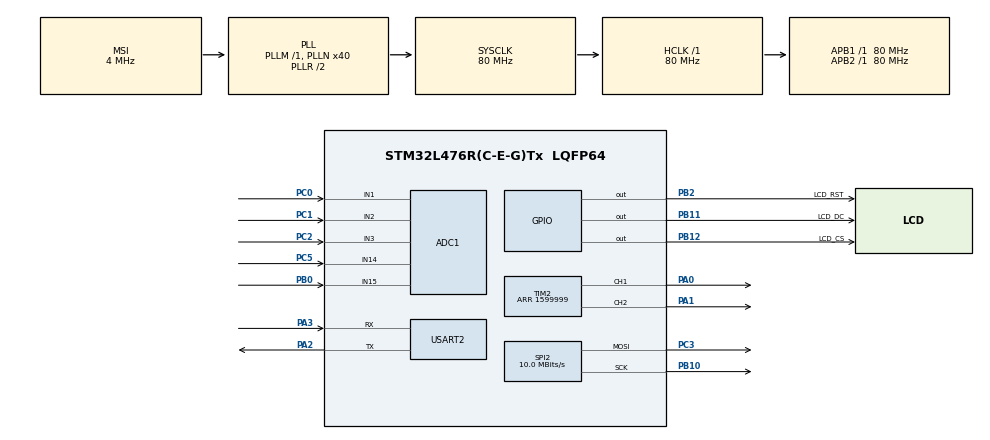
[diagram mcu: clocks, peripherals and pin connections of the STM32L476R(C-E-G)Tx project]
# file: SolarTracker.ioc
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ADC1.Channel-0\#ChannelRegularConversion=ADC_CHANNEL_1
ADC1.Channel-1\#ChannelRegularConversion=ADC_CHANNEL_2
ADC1.Channel-2\#ChannelRegularConversion=ADC_CHANNEL_3
ADC1.Channel-3\#ChannelRegularConversion=ADC_CHANNEL_15
ADC1.Channel-4\#ChannelRegularConversion=ADC_CHANNEL_14
ADC1.ContinuousConvMode=ENABLE
ADC1.DMAContinuousRequests=ENABLE
ADC1.NbrOfConversion=5
ADC1.NbrOfConversionFlag=1
ADC1.OffsetNumber-0\#ChannelRegularConversion=ADC_OFFSET_NONE
ADC1.OffsetNumber-1\#ChannelRegularConversion=ADC_OFFSET_NONE
ADC1.OffsetNumber-2\#ChannelRegularConversion=ADC_OFFSET_NONE
ADC1.OffsetNumber-3\#ChannelRegularConversion=ADC_OFFSET_NONE
ADC1.OffsetNumber-4\#ChannelRegularConversion=ADC_OFFSET_NONE
ADC1.OversamplingMode=ENABLE
ADC1.Rank-0\#ChannelRegularConversion=1
ADC1.Rank-1\#ChannelRegularConversion=2
ADC1.Rank-2\#ChannelRegularConversion=3
ADC1.Rank-3\#ChannelRegularConversion=4
ADC1.Rank-4\#ChannelRegularConversion=5
ADC1.Ratio=ADC_OVERSAMPLING_RATIO_16
ADC1.SamplingTime-0\#ChannelRegularConversion=ADC_SAMPLETIME_640CYCLES_5
ADC1.SamplingTime-1\#ChannelRegularConversion=ADC_SAMPLETIME_640CYCLES_5
ADC1.SamplingTime-2\#ChannelRegularConversion=ADC_SAMPLETIME_47CYCLES_5
ADC1.SamplingTime-3\#ChannelRegularConversion=ADC_SAMPLETIME_640CYCLES_5
ADC1.SamplingTime-4\#ChannelRegularConversion=ADC_SAMPLETIME_640CYCLES_5
ADC1.master=1
Dma.ADC1.0.Direction=DMA_PERIPH_TO_MEMORY
Dma.ADC1.0.Instance=DMA1_Channel1
Dma.ADC1.0.MemDataAlignment=DMA_MDATAALIGN_WORD
Dma.ADC1.0.MemInc=DMA_MINC_ENABLE
Dma.ADC1.0.Mode=DMA_CIRCULAR
Dma.ADC1.0.PeriphDataAlignment=DMA_PDATAALIGN_WORD
Dma.ADC1.0.PeriphInc=DMA_PINC_DISABLE
Dma.ADC1.0.Priority=DMA_PRIORITY_LOW
Dma.Request0=ADC1
Mcu.Family=STM32L4
Mcu.Name=STM32L476R(C-E-G)Tx
Mcu.Package=LQFP64
NVIC.DMA1_Channel1_IRQn=true\:0\:0\:false\:false\:true\:false\:true\:true
NVIC.PriorityGroup=NVIC_PRIORITYGROUP_4
PA0.Signal=S_TIM2_CH1
PA1.Signal=S_TIM2_CH2
PA2.Mode=Asynchronous
PA2.Signal=USART2_TX
PA3.Mode=Asynchronous
PA3.Signal=USART2_RX
PB0.Signal=ADCx_IN15
PB10.Mode=TX_Only_Simplex_Unidirect_Master
PB10.Signal=SPI2_SCK
PB11.GPIO_Label=LCD_DC
PB11.Signal=GPIO_Output
PB12.GPIO_Label=LCD_CS
PB12.PinState=GPIO_PIN_SET
PB12.Signal=GPIO_Output
PB2.GPIO_Label=LCD_RST
PB2.Signal=GPIO_Output
PC0.Signal=ADCx_IN1
PC1.Signal=ADCx_IN2
PC2.Signal=ADCx_IN3
PC3.Mode=TX_Only_Simplex_Unidirect_Master
PC3.Signal=SPI2_MOSI
PC5.Signal=ADCx_IN14
PH0-OSC_IN\ (PH0).Mode=HSE-External-Oscillator
PH0-OSC_IN\ (PH0).Signal=RCC_OSC_IN
PH1-OSC_OUT\ (PH1).Mode=HSE-External-Oscillator
PH1-OSC_OUT\ (PH1).Signal=RCC_OSC_OUT
ProjectManager.HeapSize=0x200
ProjectManager.StackSize=0x400
ProjectManager.TargetToolchain=STM32CubeIDE
RCC.ADCFreq_Value=32000000
RCC.AHBFreq_Value=80000000
RCC.APB1Freq_Value=80000000
RCC.APB1TimFreq_Value=80000000
RCC.APB2Freq_Value=80000000
RCC.APB2TimFreq_Value=80000000
RCC.CortexFreq_Value=80000000
RCC.HCLKFreq_Value=80000000
RCC.HSE_VALUE=8000000
RCC.HSI_VALUE=16000000
RCC.LSE_VALUE=32768
RCC.MSI_VALUE=4000000
RCC.PLLN=40
RCC.PLLSAI1N=16
RCC.SYSCLKFreq_VALUE=80000000
RCC.SYSCLKSource=RCC_SYSCLKSOURCE_PLLCLK
RCC.USBFreq_Value=32000000
RCC.VCOOutputFreq_Value=160000000
SH.ADCx_IN1.0=ADC1_IN1,IN1-Single-Ended
SH.ADCx_IN14.0=ADC1_IN14,IN14-Single-Ended
SH.ADCx_IN15.0=ADC1_IN15,IN15-Single-Ended
SH.ADCx_IN2.0=ADC1_IN2,IN2-Single-Ended
SH.ADCx_IN3.0=ADC1_IN3,IN3-Single-Ended
SH.S_TIM2_CH1.0=TIM2_CH1,PWM Generation1 CH1
SH.S_TIM2_CH2.0=TIM2_CH2,PWM Generation2 CH2
SPI2.BaudRatePrescaler=SPI_BAUDRATEPRESCALER_8
SPI2.CalculateBaudRate=10.0 MBits/s
SPI2.DataSize=SPI_DATASIZE_8BIT
SPI2.Direction=SPI_DIRECTION_2LINES
SPI2.Mode=SPI_MODE_MASTER
SPI2.NSSPMode=SPI_NSS_PULSE_DISABLE
SPI2.VirtualType=VM_MASTER
TIM2.AutoReloadPreload=TIM_AUTORELOAD_PRELOAD_ENABLE
TIM2.Channel-PWM\ Generation1\ CH1=TIM_CHANNEL_1
TIM2.Channel-PWM\ Generation2\ CH2=TIM_CHANNEL_2
TIM2.Period=1599999
USART2.VirtualMode-Asynchronous=VM_ASYNC
VP_TIM2_VS_ClockSourceINT.Mode=Internal
board=custom

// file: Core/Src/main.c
/* USER CODE BEGIN Header */
/**
  ******************************************************************************
  * @file           : main.c
  * @brief          : Main program body
  ******************************************************************************
  * @attention
  *
  * Copyright (c) 2022 STMicroelectronics.
  * All rights reserved.
  *
  * This software is licensed under terms that can be found in the LICENSE file
  * in the root directory of this software component.
  * If no LICENSE file comes with this software, it is provided AS-IS.
  *
  ******************************************************************************
  */
/* USER CODE END Header */
#include "main.h"
#include "adc.h"
#include "dma.h"
#include "spi.h"
#include "tim.h"
#include "usart.h"
#include "gpio.h"

/* USER CODE BEGIN Includes */
#include "hagl.h"
#include "font6x9.h"
#include "rgb565.h"
#include <string.h>
#include <stdio.h>
#include <wchar.h>

/* USER CODE END Includes */

void SystemClock_Config(void);

/* USER CODE BEGIN 0 */

/*
int __io_putchar(int ch){
	if (ch == '\n') {
	uint8_t ch2 = '\r';
	HAL_UART_Transmit(&huart2, &ch2, 1, HAL_MAX_DELAY);
	}
	HAL_UART_Transmit(&huart2, (uint8_t*)&ch, 1, HAL_MAX_DELAY);
	return 1;
}
*/

/* USER CODE END 0 */

int main(void)
{
  /* USER CODE BEGIN 1 */
	int32_t CH1_DC = 100000;
	int32_t CH2_DC = 133000;
	//int up1 = 1;
	//int up2 = 1;
	uint32_t value[5];

  /* USER CODE END 1 */

  /* MCU Configuration--------------------------------------------------------*/

  /* Reset of all peripherals, Initializes the Flash interface and the Systick. */
  HAL_Init();

  /* Configure the system clock */
  SystemClock_Config();

  /* Initialize all configured peripherals */
  MX_GPIO_Init();
  MX_TIM2_Init();
  MX_DMA_Init();
  MX_USART2_UART_Init();
  MX_ADC1_Init();
  MX_SPI2_Init();
  /* USER CODE BEGIN 2 */
  HAL_TIM_PWM_Start(&htim2, TIM_CHANNEL_1);
  HAL_TIM_PWM_Start(&htim2, TIM_CHANNEL_2);
  HAL_ADC_Start_DMA(&hadc1, value, 5);
  lcd_init();
  HAL_ADC_PollForConversion(&hadc1, HAL_MAX_DELAY);
  HAL_ADCEx_Calibration_Start(&hadc1, ADC_SINGLE_ENDED);

  /* USER CODE END 2 */

  /* Infinite loop */
  /* USER CODE BEGIN WHILE */
  lcd_init();

  for (int i = 0; i < 8; i++) {
    hagl_draw_rounded_rectangle(2+i, 2+i, 158-i, 126-i, 8-i, rgb565(0, 0, i*16));
  }

  hagl_put_text("Hello World!", 40, 55, YELLOW, font6x9);

  lcd_copy();
  while (1)
  {
    /* USER CODE END WHILE */

    /* USER CODE BEGIN 3 */

	  //printf("1-> %d\n",value[0]);
	  //printf("1-> %d\n",value[1]);
	  //printf("1-> %d\n",value[2]);
	  //printf("1-> %d\n",value[3]);

	  //sprintf(textToWrite,"%lu", value[5]);
	  //wchar_t vOut = (wchar_t)value[5];
	  //hagl_clear_screen();

	  //wchar_t m_reportFileName[256];
	  //char marek[] = "zabawka";
	  //swprintf(m_reportFileName, L"%hs", marek);

	  //swprintf(m_reportFileName, L"%d", robert);
	  //hagl_put_text(m_reportFileName, 40, 55, YELLOW, font6x9);

	  /*
	  int robert1 = (int)value[0];
	  int robert2 = (int)value[1];
	  int robert3 = (int)value[2];
	  int robert4 = (int)value[3];
	  float robert5 = (int)value[4];
	  robert5 = (robert5 / 65536) * 3.3;
	  char marek1[255];
	  char marek2[255];
	  char marek3[255];
	  char marek4[255];
	  char marek5[255];
	  sprintf(marek1, "%d", robert1);
	  sprintf(marek2, "%d", robert2);
	  sprintf(marek3, "%d", robert3);
	  sprintf(marek4, "%d", robert4);
	  sprintf(marek5, "%f", robert5);

	  hagl_clear_screen();

	  hagl_put_text(marek1, 40, 3, YELLOW, font6x9);
	  hagl_put_text(marek2, 40, 10, YELLOW, font6x9);
	  hagl_put_text(marek3, 40, 17, YELLOW, font6x9);
	  hagl_put_text(marek4, 40, 24, YELLOW, font6x9);
	  hagl_put_text(marek5, 40, 31, YELLOW, font6x9);

	  lcd_copy();
	  HAL_Delay(1000);
	  */

	  HAL_Delay(10);
	  //up down
	  if(value[0] > value[1]){
		  CH1_DC += 100;
	  }
	  if(value[2] > value[3]){
		  CH1_DC += 100;
	  }
	  if(value[0] < value[1]){
		  CH1_DC -= 100;
	  }
	  if(value[2] < value[3]){
		  CH1_DC -= 100;
	  }

	  //left right
	  if(value[0] > value[2]){
		  CH2_DC += 100;
	  }
	  if(value[1] > value[3]){
		  CH2_DC += 100;
	  }
	  if(value[0] < value[2]){
		  CH2_DC -= 100;
	  }
	  if(value[1] < value[3]){
		  CH2_DC -= 100;
	  }

	  //check
	  if(CH1_DC > 114000){
		  CH1_DC = 114000;
	  }
	  if(CH1_DC < 80000){
		  CH1_DC = 80000;
	  }
	  if(CH2_DC > 205000){
		  CH2_DC = 205000;
	  }
	  if(CH2_DC < 62000){
		  CH2_DC = 62000;
	  }

	  TIM2->CCR1 = CH1_DC;
	  TIM2->CCR2 = CH2_DC;

	  /*
	  TIM2->CCR1 = CH1_DC;
	  TIM2->CCR2 = CH2_DC;

	  if(up1){
		  TIM2->CCR1 = CH1_DC;
		  CH1_DC += 50;
	  } else{
		  TIM2->CCR1 = CH1_DC;
		  CH1_DC -= 50;
	  }

	  if(up2){
		  TIM2->CCR2 = CH2_DC;
		  CH2_DC += 50;
	  } else {
		  TIM2->CCR2 = CH2_DC;
		  CH2_DC -= 50;
	  }

	  if((CH1_DC > 114000) && up1){
		  up1 = 0;
	  }
	  if((CH1_DC < 80000) && !up1){
	  	  up1 = 1;
	  }

	  if((CH2_DC > 205000) && up2){
		  up2 = 0;
	  }
	  if((CH2_DC < 62000) && !up2){
		  up2 = 1;
	  }

	  HAL_Delay(2);
	  */

	  //uint8_t value;
	  //HAL_UART_Receive(&huart2, &value, 1, HAL_MAX_DELAY);
	  //printf("-> %c\n",value);
  }
  /* USER CODE END 3 */
}

void SystemClock_Config(void)
{
  RCC_OscInitTypeDef RCC_OscInitStruct = {0};
  RCC_ClkInitTypeDef RCC_ClkInitStruct = {0};

  /** Configure the main internal regulator output voltage
  */
  if (HAL_PWREx_ControlVoltageScaling(PWR_REGULATOR_VOLTAGE_SCALE1) != HAL_OK)
  {
    Error_Handler();
  }

  /** Initializes the RCC Oscillators according to the specified parameters
  * in the RCC_OscInitTypeDef structure.
  */
  RCC_OscInitStruct.OscillatorType = RCC_OSCILLATORTYPE_MSI;
  RCC_OscInitStruct.MSIState = RCC_MSI_ON;
  RCC_OscInitStruct.MSICalibrationValue = 0;
  RCC_OscInitStruct.MSIClockRange = RCC_MSIRANGE_6;
  RCC_OscInitStruct.PLL.PLLState = RCC_PLL_ON;
  RCC_OscInitStruct.PLL.PLLSource = RCC_PLLSOURCE_MSI;
  RCC_OscInitStruct.PLL.PLLM = 1;
  RCC_OscInitStruct.PLL.PLLN = 40;
  RCC_OscInitStruct.PLL.PLLP = RCC_PLLP_DIV7;
  RCC_OscInitStruct.PLL.PLLQ = RCC_PLLQ_DIV2;
  RCC_OscInitStruct.PLL.PLLR = RCC_PLLR_DIV2;
  if (HAL_RCC_OscConfig(&RCC_OscInitStruct) != HAL_OK)
  {
    Error_Handler();
  }

  /** Initializes the CPU, AHB and APB buses clocks
  */
  RCC_ClkInitStruct.ClockType = RCC_CLOCKTYPE_HCLK|RCC_CLOCKTYPE_SYSCLK
                              |RCC_CLOCKTYPE_PCLK1|RCC_CLOCKTYPE_PCLK2;
  RCC_ClkInitStruct.SYSCLKSource = RCC_SYSCLKSOURCE_PLLCLK;
  RCC_ClkInitStruct.AHBCLKDivider = RCC_SYSCLK_DIV1;
  RCC_ClkInitStruct.APB1CLKDivider = RCC_HCLK_DIV1;
  RCC_ClkInitStruct.APB2CLKDivider = RCC_HCLK_DIV1;

  if (HAL_RCC_ClockConfig(&RCC_ClkInitStruct, FLASH_LATENCY_4) != HAL_OK)
  {
    Error_Handler();
  }
}

void Error_Handler(void)
{
  __disable_irq();
  while (1)
  {
  }
}
